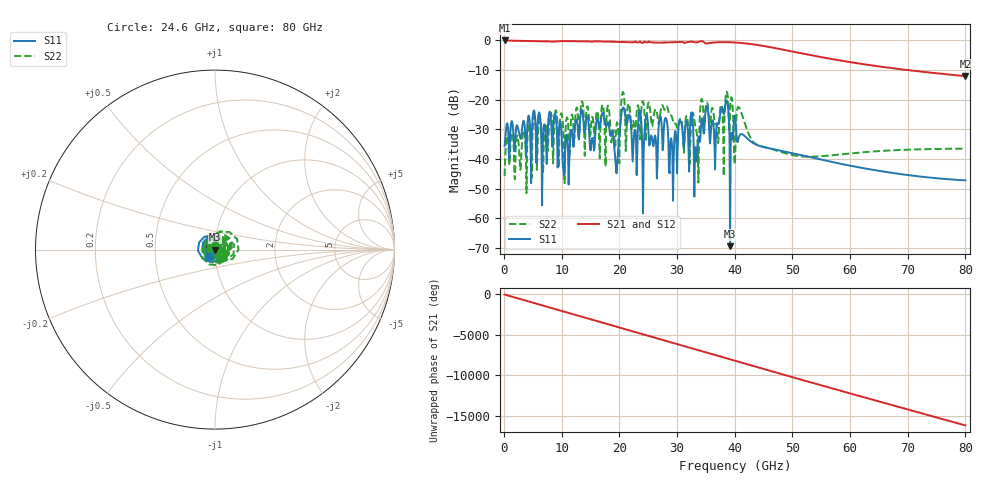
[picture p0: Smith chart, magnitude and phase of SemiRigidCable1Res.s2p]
! File created by SignalIntegrity v1.1.9: Signal and Power Integrity Tools
! https://github.com/TeledyneLeCroy/SignalIntegrity
# MHz MA S R 50.0
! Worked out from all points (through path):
!   800 points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, 100 MHz to 80 GHz, reference 50 ohm
!   highest |S21| = -0.06 dB at 100 MHz (marker M1); lowest = -12.0 dB at 80 GHz (marker M2)
!   lowest |S11| = -69.4 dB at 39.2 GHz (marker M3), VSWR 1.00, Z = 50 - j0.00126 ohm
!   |S11| at or under -10 dB: start of sweep to end of sweep
!   |S22| runs from -51.5 to -17.3 dB; largest |S21 - S12| = 0
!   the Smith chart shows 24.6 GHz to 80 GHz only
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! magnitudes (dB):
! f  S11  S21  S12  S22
! 100 MHz  -35.6  -0.1  -0.1  -45.7
! 8.8 GHz  -24.7  -0.4  -0.4  -25.2
! 10.4 GHz  -45.6  -0.3  -0.3  -38.0
! 13.5 GHz  -23.3  -0.3  -0.3  -20.5
! 15.3 GHz  -32.9  -0.5  -0.5  -25.8
! 17.2 GHz  -24.7  -0.4  -0.4  -22.4
! 19.5 GHz  -44.8  -0.5  -0.5  -28.6
! 20.6 GHz  -22.7  -0.6  -0.6  -17.4
! 22.7 GHz  -30.2  -0.5  -0.5  -31.6
! 26.8 GHz  -29.5  -0.8  -0.8  -28.1
! 32.5 GHz  -24.3  -0.5  -0.5  -26.5
! 33.3 GHz  -37.2  -0.7  -0.7  -30.2
! 35.1 GHz  -22.2  -1.1  -1.1  -21.2
! 36.8 GHz  -30.0  -0.7  -0.7  -28.0
! 38.5 GHz  -20.4  -0.6  -0.6  -17.9
! 39.2 GHz  -69.4  -0.7  -0.7  -23.7
! 40.1 GHz  -26.2  -0.7  -0.7  -38.3
! 40.8 GHz  -32.2  -0.8  -0.8  -22.8
! 43.7 GHz  -35.2  -1.5  -1.5  -35.0
! 53.4 GHz  -39.6  -5.1  -5.1  -39.2
! 66.7 GHz  -44.5  -9.2  -9.2  -37.2
! 80 GHz  -47.2  -12.0  -12.0  -36.5
